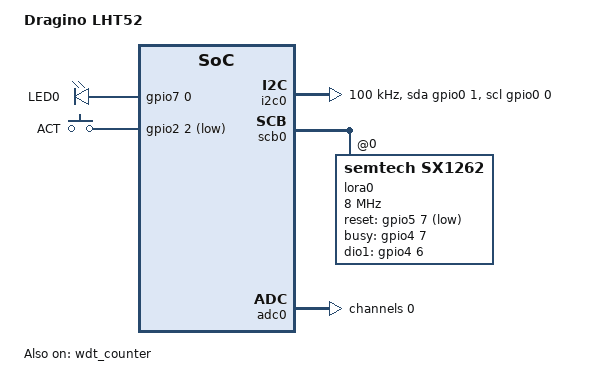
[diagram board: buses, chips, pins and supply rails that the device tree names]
/*
 * Copyright (c) 2025 hal_ASR6502 contributors
 *
 * SPDX-License-Identifier: Apache-2.0
 */

/dts-v1/;

#include <asr/asr6502.dtsi>
#include <zephyr/dt-bindings/adc/adc.h>
#include <zephyr/dt-bindings/input/input-event-codes.h>
#include <zephyr/dt-bindings/pinctrl/asr6502-pinctrl.h>
#include <zephyr/dt-bindings/lora/sx126x.h>

/ {
	model = "Dragino LHT52";
	compatible = "asr,lht52";

	chosen {
		zephyr,sram = &sram0;
		zephyr,flash = &flash0;
		zephyr,code-partition = &slot0_partition;
	};

	leds {
		compatible = "gpio-leds";

		led0: led_0 {
			gpios = <&gpio7 0 GPIO_ACTIVE_HIGH>;
			label = "LED0";
		};
	};

	buttons {
		compatible = "gpio-keys";

		button0: button_0 {
			/* ACT button on P2.2. */
			gpios = <&gpio2 2 (GPIO_PULL_UP | GPIO_ACTIVE_LOW)>;
			label = "ACT";
			zephyr,code = <INPUT_KEY_0>;
		};
	};

	aliases {
		led0 = &led0;
		sw0 = &button0;
		lora0 = &lora0;
		i2c0 = &i2c0;
	};

	/* SHT temp/humidity sensor on P0.0 (SCL) / P0.1 (SDA), bit-banged.
	 * Relies on the board's external I2C pull-ups.
	 */
	i2c0: i2c-gpio {
		compatible = "gpio-i2c";
		#address-cells = <1>;
		#size-cells = <0>;
		clock-frequency = <100000>;
		scl-gpios = <&gpio0 0 GPIO_OPEN_DRAIN>;
		sda-gpios = <&gpio0 1 GPIO_OPEN_DRAIN>;
		status = "okay";
	};
};

&gpio0 {
	status = "okay";
};

&pinctrl {
	/* SCB0 SPI to the SX126x radio: SCLK P4.2, MOSI P4.0, MISO P4.1 (HSIOM 15). */
	spi0_sclk: spi0_sclk {
		pinmux = <ASR_PINMUX(4, 2, 15)>;
		drive-push-pull;
	};
	spi0_mosi: spi0_mosi {
		pinmux = <ASR_PINMUX(4, 0, 15)>;
		drive-push-pull;
	};
	spi0_miso: spi0_miso {
		pinmux = <ASR_PINMUX(4, 1, 15)>;
		input-enable;
	};
};

&gpio4 {
	status = "okay";
};

&gpio5 {
	status = "okay";
};

/* On-die SX1262 radio on SCB0: NSS P4.3, RESET P5.7, BUSY P4.7, DIO1 P4.6. */
&scb0 {
	status = "okay";
	pinctrl-0 = <&spi0_sclk &spi0_mosi &spi0_miso>;
	pinctrl-names = "default";
	cs-gpios = <&gpio4 3 GPIO_ACTIVE_LOW>;

	lora0: lora@0 {
		compatible = "semtech,sx1262";
		reg = <0>;
		spi-max-frequency = <8000000>;
		reset-gpios = <&gpio5 7 GPIO_ACTIVE_LOW>;
		busy-gpios = <&gpio4 7 GPIO_ACTIVE_HIGH>;
		dio1-gpios = <&gpio4 6 GPIO_ACTIVE_HIGH>;
		/* The radio drives the TX/RX antenna switch from DIO2. */
		dio2-tx-enable;
		/* DIO3 controls the TCXO at 1.8 V with a 5 ms startup delay. */
		dio3-tcxo-voltage = <SX126X_DIO3_TCXO_1V8>;
		tcxo-power-startup-delay-ms = <5>;
	};
};

&gpio2 {
	status = "okay";
};

&wdt_counter {
	status = "okay";
};

&gpio7 {
	status = "okay";
};

/* Battery voltage via the SAR (SARMUX input 0). */
&adc0 {
	status = "okay";
	#address-cells = <1>;
	#size-cells = <0>;

	channel@0 {
		reg = <0>;
		zephyr,gain = "ADC_GAIN_1";
		zephyr,reference = "ADC_REF_EXTERNAL0";
		zephyr,acquisition-time = <ADC_ACQ_TIME_DEFAULT>;
		zephyr,input-positive = <0>;
	};
};

/* Flash layout for FUOTA / OTA: running image, download slot, and NVS. */
&flash0 {
	partitions {
		compatible = "fixed-partitions";
		#address-cells = <1>;
		#size-cells = <1>;

		slot0_partition: partition@0 {
			label = "image-0";
			reg = <0x00000000 0x0000C000>;
		};
		slot1_partition: partition@c000 {
			label = "image-1";
			reg = <0x0000C000 0x0000C000>;
		};
		storage_partition: partition@18000 {
			label = "storage";
			reg = <0x00018000 0x00008000>;
		};
	};
};
